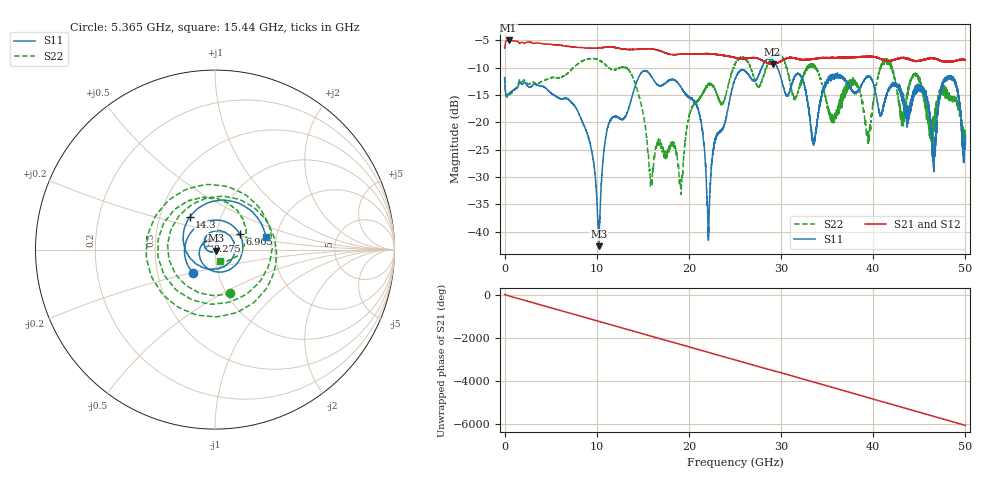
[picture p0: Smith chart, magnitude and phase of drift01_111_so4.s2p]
!Created with skrf (http://scikit-rf.org).
# Hz S RI R 50.0
!freq ReS11 ImS11 ReS21 ImS21 ReS12 ImS12 ReS22 ImS22
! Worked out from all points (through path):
!   10001 points, 300 kHz to 50 GHz, reference 50 ohm
!   highest |S21| = -5.05 dB at 425.3 MHz (marker M1); lowest = -9.4 dB at 29.08 GHz (marker M2)
!   group delay of S21, straight-line fit = 336 ps
!   lowest |S11| = -42.6 dB at 10.22 GHz (marker M3), VSWR 1.01, Z = 50.5 - j0.513 ohm
!   |S11| at or under -10 dB: start of sweep to 27.9 GHz; 29.6 GHz to end of sweep
!   |S22| runs from -33.1 to -7.5 dB; largest |S21 - S12| = 0.015
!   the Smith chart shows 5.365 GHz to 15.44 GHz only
!   S11 on the Smith chart (normalised r, x): 5.365 GHz: 0.76, -0.20; 6.905 GHz: 1.30, +0.23; 9.275 GHz: 0.92, +0.09; 14.3 GHz: 0.71, +0.27; 15.44 GHz: 1.77, +0.26
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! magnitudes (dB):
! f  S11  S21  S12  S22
! 300 kHz  -11.8  -6.4  -6.5  -11.8
! 425.3 MHz  -14.8  -5.1  -5.1  -15.1
! 5.365 GHz  -15.0  -5.8  -5.8  -11.8
! 6.905 GHz  -15.8  -6.1  -6.1  -11.0
! 8.335 GHz  -19.5  -6.4  -6.4  -8.9
! 9.275 GHz  -23.9  -6.4  -6.4  -8.3
! 10.22 GHz  -42.6  -6.4  -6.4  -8.6
! 11.23 GHz  -20.7  -6.3  -6.2  -9.9
! 14.3 GHz  -12.8  -6.7  -6.7  -13.5
! 15.44 GHz  -10.7  -6.6  -6.6  -22.8
! 16.67 GHz  -13.3  -6.9  -6.9  -23.3
! 19.14 GHz  -13.6  -7.6  -7.6  -33.0
! 20.86 GHz  -16.9  -7.6  -7.5  -16.3
! 22.12 GHz  -41.6  -7.5  -7.5  -13.3
! 25 GHz  -12.1  -8.2  -8.2  -9.5
! 29.08 GHz  -8.6  -9.4  -9.4  -8.0
! 33.34 GHz  -22.4  -8.5  -8.4  -9.5
! 39.47 GHz  -11.6  -8.0  -7.9  -22.0
! 41.67 GHz  -13.8  -8.8  -8.8  -9.2
! 46.56 GHz  -26.3  -8.3  -8.3  -20.9
! 48.55 GHz  -11.7  -8.9  -8.9  -15.6
! 50 GHz  -24.0  -8.6  -8.6  -22.8
